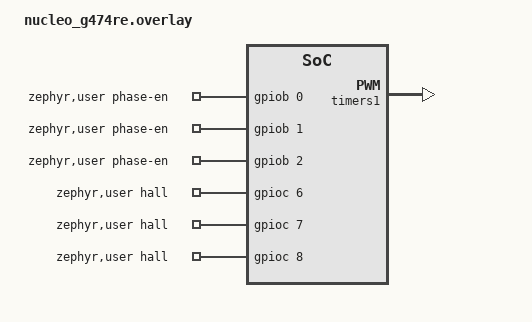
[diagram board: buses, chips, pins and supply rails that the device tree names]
/*
 * Sensored (hall-effect) BLDC six-step commutation - board overlay
 * (NUCLEO-G474RE)
 *
 * HARDWARE ASSUMPTION - please verify against your actual driver board:
 * each phase is backed by an integrated three-phase half-bridge driver
 * (DRV8313 / L6234 class) that takes one PWM input per phase for duty
 * and a per-phase enable/tri-state pin - same as the sensorless project.
 * If you're using discrete MOSFETs with separate gate drivers instead,
 * only src/phase_driver.cpp needs to change.
 *
 * Phase PWM  -> TIM1 CH1/CH2/CH3 (PA8 / PA9 / PA10)
 * Phase EN   -> PB0 / PB1 / PB2   (placeholder - move to match wiring)
 * Hall U/V/W -> PC6 / PC7 / PC8   (placeholder - all on GPIOC so they
 *               share a single gpio_callback registration; move to a
 *               different port and add a second callback if needed)
 *
 * Hall sensors are assumed open-collector/open-drain (the common case,
 * e.g. A3144-style sensors), hence the internal pull-ups below. If your
 * hall boards already have their own pull-ups (many do), the internal
 * ones are harmless but you can drop GPIO_PULL_UP.
 */

#include <zephyr/dt-bindings/gpio/gpio.h>

&timers1 {
	status = "okay";

	pwm_u: pwm_ch1 {
		status = "okay";
		pinctrl-0 = <&tim1_ch1_pa8>;
		pinctrl-names = "default";
	};
	pwm_v: pwm_ch2 {
		status = "okay";
		pinctrl-0 = <&tim1_ch2_pa9>;
		pinctrl-names = "default";
	};
	pwm_w: pwm_ch3 {
		status = "okay";
		pinctrl-0 = <&tim1_ch3_pa10>;
		pinctrl-names = "default";
	};
};

&gpiob {
	status = "okay";
};

&gpioc {
	status = "okay";
};

/ {
	aliases {
		bldc-pwm-u = &pwm_u;
		bldc-pwm-v = &pwm_v;
		bldc-pwm-w = &pwm_w;
	};

	zephyr,user {
		phase-en-gpios = <&gpiob 0 GPIO_ACTIVE_HIGH>,
				  <&gpiob 1 GPIO_ACTIVE_HIGH>,
				  <&gpiob 2 GPIO_ACTIVE_HIGH>;

		hall-gpios = <&gpioc 6 (GPIO_ACTIVE_HIGH | GPIO_PULL_UP)>,
			      <&gpioc 7 (GPIO_ACTIVE_HIGH | GPIO_PULL_UP)>,
			      <&gpioc 8 (GPIO_ACTIVE_HIGH | GPIO_PULL_UP)>;
	};
};
